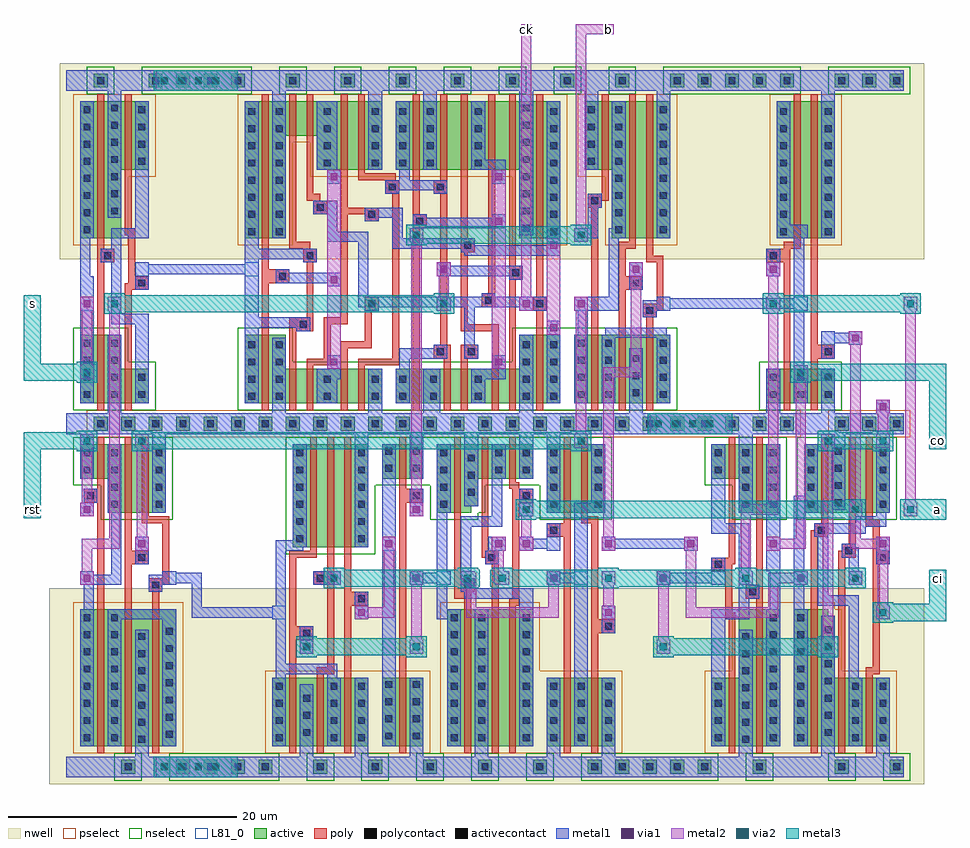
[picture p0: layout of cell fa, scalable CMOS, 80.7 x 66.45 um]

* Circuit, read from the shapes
.subckt fa a b ci ck co gnd rst s vdd
M1 DFFPOSX1_4/D rst gnd gnd nfet w=3u l=0.6u
M2 gnd n1 s gnd nfet w=6u l=0.6u
M3 n2 AOI21X1_12/B DFFPOSX1_4/D gnd nfet w=6u l=0.6u
M4 n1 BUFX2_0/A gnd gnd nfet w=3u l=0.6u
M5 gnd AOI21X1_12/A n2 gnd nfet w=6u l=0.6u
M6 gnd n3 BUFX2_0/A gnd nfet w=6u l=0.6u
M7 n4 BUFX2_0/A gnd gnd nfet w=3u l=0.6u
M8 n3 n5 n4 gnd nfet w=3u l=0.6u
M9 n6 NAND3X1_16/C AOI21X1_12/A gnd nfet w=9u l=0.6u
M10 n7 NAND3X1_16/B n6 gnd nfet w=9u l=0.6u
M11 n8 ck n3 gnd nfet w=3u l=0.6u
M12 gnd NAND3X1_16/A n7 gnd nfet w=9u l=0.6u
M13 gnd n9 n8 gnd nfet w=3u l=0.6u
M14 gnd b NAND3X1_16/A gnd nfet w=3u l=0.6u
M15 gnd n10 n9 gnd nfet w=3u l=0.6u
M16 n11 n9 gnd gnd nfet w=3u l=0.6u
M17 gnd n12 NAND3X1_16/C gnd nfet w=6u l=0.6u
M18 n10 ck n11 gnd nfet w=3u l=0.6u
M19 n12 a gnd gnd nfet w=3u l=0.6u
M20 n13 n5 n10 gnd nfet w=3u l=0.6u
M21 gnd ci n12 gnd nfet w=3u l=0.6u
M22 gnd DFFPOSX1_4/D n13 gnd nfet w=3u l=0.6u
M23 n5 ck gnd gnd nfet w=6u l=0.6u
M24 n14 ci gnd gnd nfet w=6u l=0.6u
M25 NAND3X1_16/B a n14 gnd nfet w=6u l=0.6u
M26 n15 b AOI21X1_12/B gnd nfet w=6u l=0.6u
M27 gnd OAI21X1_5/B n15 gnd nfet w=6u l=0.6u
M28 n15 OAI21X1_5/A gnd gnd nfet w=6u l=0.6u
M29 gnd gnd n16 gnd nfet w=3u l=0.6u
M30 co n16 gnd gnd nfet w=6u l=0.6u
M31 OAI21X1_5/A a gnd gnd nfet w=3u l=0.6u
M32 gnd ci OAI21X1_5/A gnd nfet w=3u l=0.6u
M33 gnd n17 OAI21X1_5/B gnd nfet w=6u l=0.6u
M34 n18 a gnd gnd nfet w=6u l=0.6u
M35 n17 ci n18 gnd nfet w=6u l=0.6u
M36 n19 rst DFFPOSX1_4/D vdd pfet w=12u l=0.6u
M37 vdd n1 s vdd pfet w=12u l=0.6u
M38 vdd AOI21X1_12/B n19 vdd pfet w=12u l=0.6u
M39 n1 BUFX2_0/A vdd vdd pfet w=6u l=0.6u
M40 n19 AOI21X1_12/A vdd vdd pfet w=12u l=0.6u
M41 vdd n3 BUFX2_0/A vdd pfet w=12u l=0.6u
M42 vdd NAND3X1_16/C AOI21X1_12/A vdd pfet w=6u l=0.6u
M43 n20 BUFX2_0/A vdd vdd pfet w=3u l=0.6u
M44 n3 ck n20 vdd pfet w=3u l=0.6u
M45 AOI21X1_12/A NAND3X1_16/B vdd vdd pfet w=6u l=0.6u
M46 n21 n5 n3 vdd pfet w=6u l=0.6u
M47 vdd NAND3X1_16/A AOI21X1_12/A vdd pfet w=6u l=0.6u
M48 vdd n9 n21 vdd pfet w=6u l=0.6u
M49 vdd b NAND3X1_16/A vdd pfet w=6u l=0.6u
M50 vdd n10 n9 vdd pfet w=6u l=0.6u
M51 n22 n9 vdd vdd pfet w=6u l=0.6u
M52 n10 n5 n22 vdd pfet w=6u l=0.6u
M53 vdd n12 NAND3X1_16/C vdd pfet w=12u l=0.6u
M54 n23 ck n10 vdd pfet w=6u l=0.6u
M55 n24 a vdd vdd pfet w=12u l=0.6u
M56 n12 ci n24 vdd pfet w=12u l=0.6u
M57 vdd DFFPOSX1_4/D n23 vdd pfet w=6u l=0.6u
M58 n5 ck vdd vdd pfet w=12u l=0.6u
M59 NAND3X1_16/B ci vdd vdd pfet w=6u l=0.6u
M60 vdd a NAND3X1_16/B vdd pfet w=6u l=0.6u
M61 AOI21X1_12/B b vdd vdd pfet w=6u l=0.6u
M62 n25 OAI21X1_5/B AOI21X1_12/B vdd pfet w=12u l=0.6u
M63 vdd OAI21X1_5/A n25 vdd pfet w=12u l=0.6u
M64 vdd gnd n16 vdd pfet w=6u l=0.6u
M65 co n16 vdd vdd pfet w=12u l=0.6u
M66 n26 a OAI21X1_5/A vdd pfet w=12u l=0.6u
M67 vdd n17 OAI21X1_5/B vdd pfet w=12u l=0.6u
M68 vdd ci n26 vdd pfet w=12u l=0.6u
M69 n17 a vdd vdd pfet w=6u l=0.6u
M70 vdd ci n17 vdd pfet w=6u l=0.6u
.ends

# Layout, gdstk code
from math import pi, radians
import gdstk
lib = gdstk.Library(unit=1e-6, precision=1e-09)
def R(c, l, rs):  # rectangles x0, y0, x1, y1
    for r in rs: c.add(gdstk.rectangle(r[:2], r[2:], *l))
def A(c, l, x, y, w, h, nx, ny, dx, dy):  # array of equal rectangles
    R(c, l, [(x+i*dx, y+j*dy, x+i*dx+w, y+j*dy+h) for i in range(nx) for j in range(ny)])
nwell = (42, 0)
active = (43, 0)
pselect = (44, 0)
nselect = (45, 0)
poly = (46, 0)
polycontact = (47, 0)
activecontact = (48, 0)
metal1 = (49, 0)
via1 = (50, 0)
metal2 = (51, 0)
via2 = (61, 0)
metal3 = (62, 0)
L81_0 = (81, 0)

bufx2 = lib.new_cell('BUFX2')
R(bufx2, nwell, [(-1.5,14.4,8.4,31.5)])
R(bufx2, active, [(-0.6,-0.6,0.6,0.6), (4.2,-0.6,5.4,0.6), (0.6,1.8,6.6,4.8), (3,4.8,6.6,7.8), (3,16.2,6.6,22.2), (0.6,22.2,6.6,28.2), (-0.6,29.4,0.6,30.6), (4.2,29.4,5.4,30.6)])
R(bufx2, pselect, [(-1.2,-1.2,1.2,1.2), (3.6,-1.2,6,1.2), (2.4,15.6,7.2,21.6), (0,21.6,7.2,28.8)])
R(bufx2, nselect, [(0,1.2,7.2,5.4), (2.4,5.4,7.2,8.4), (-1.2,28.8,1.2,31.2), (3.6,28.8,6,31.2)])
R(bufx2, poly, [(2.1,1.2,2.7,11.7), (4.5,1.2,5.1,14.1), (0.6,11.7,2.7,12.3), (0.6,12.3,2.4,12.9), (1.8,12.9,2.4,16.5), (3.6,14.1,5.1,15.3), (4.5,15.3,5.1,28.8), (1.8,16.5,2.7,17.1), (2.1,17.1,2.7,28.8)])
R(bufx2, polycontact, [(0.9,12,1.5,12.6), (3.9,14.4,4.5,15)])
A(bufx2, activecontact, 0.9, 2.25, 0.6, 0.6, 3, 2, 2.4, 1.5)
A(bufx2, activecontact, 5.7, 16.65, 0.6, 0.6, 1, 8, 0, 1.5)
A(bufx2, activecontact, 3.3, 18.3, 0.6, 0.6, 1, 7, 0, 1.5)
A(bufx2, activecontact, 0.9, 22.65, 0.6, 0.6, 1, 4, 0, 1.5)
R(bufx2, activecontact, [(-0.3,-0.3,0.3,0.3), (4.5,-0.3,5.1,0.3), (3.3,5.25,3.9,5.85), (5.7,5.25,6.3,5.85), (3.3,6.75,3.9,7.35), (5.7,6.75,6.3,7.35), (-0.3,29.7,0.3,30.3), (4.5,29.7,5.1,30.3)])
R(bufx2, metal1, [(-0.6,-0.9,7.8,0.9), (3,0.9,4.2,7.8), (0.6,1.8,1.8,8.7), (5.4,1.8,6.6,12.9), (0.6,8.7,3.9,9.6), (3,9.6,3.9,14.1), (0.6,11.7,1.8,14.1), (5.7,12.9,6.6,16.2), (3,14.1,4.8,15.3), (3,15.3,3.9,16.2), (0.6,16.2,3.9,17.1), (5.4,16.2,6.6,28.2), (0.6,17.1,1.8,28.2), (3,18,4.2,29.1), (-0.6,29.1,7.8,30.9)])
R(bufx2, L81_0, [(5.4,9.9,6.6,11.1), (0.6,12.9,1.8,14.1)])
bufx2.add(gdstk.Label('vdd', (1.2,30), layer=109, texttype=0))
bufx2.add(gdstk.Label('gnd', (1.2,0), layer=109, texttype=0))
bufx2.add(gdstk.Label('A', (1.2,13.5), layer=109, texttype=0))
bufx2.add(gdstk.Label('Y', (6,10.5), layer=109, texttype=0))

fill = lib.new_cell('FILL')
R(fill, nwell, [(-2.4,14.4,4.8,31.5)])
R(fill, active, [(-0.6,-0.6,0.6,0.6), (1.8,-0.6,3,0.6), (-0.6,29.4,0.6,30.6), (1.8,29.4,3,30.6)])
R(fill, pselect, [(-1.2,-1.2,3.6,1.2)])
R(fill, nselect, [(-1.2,28.8,3.6,31.2)])
R(fill, activecontact, [(-0.3,-0.3,0.3,0.3), (2.1,-0.3,2.7,0.3), (-0.3,29.7,0.3,30.3), (2.1,29.7,2.7,30.3)])
R(fill, metal1, [(-0.6,-0.9,3,0.9), (-0.6,29.1,3,30.9)])
fill.add(gdstk.Label('vdd', (1.2,30), layer=109, texttype=0))
fill.add(gdstk.Label('gnd', (1.2,0), layer=109, texttype=0))

dffposx1 = lib.new_cell('DFFPOSX1')
R(dffposx1, nwell, [(-2.4,14.4,31.2,31.5)])
A(dffposx1, active, -0.6, -0.6, 1.2, 1.2, 6, 2, 4.8, 30)
R(dffposx1, active, [(0.6,1.8,15,4.8), (16.2,1.8,28.2,4.8), (0.6,4.8,4.2,7.8), (24.6,4.8,28.2,7.8), (0.6,16.2,4.2,22.2), (24.6,16.2,28.2,25.2), (0.6,22.2,15,28.2), (16.2,22.2,21.9,25.2), (16.2,25.2,28.2,28.2)])
A(dffposx1, pselect, -1.2, -1.2, 2.4, 2.4, 6, 1, 4.8, 0)
R(dffposx1, pselect, [(0,15.6,4.8,21.6), (24,15.6,28.8,24.6), (0,21.6,22.5,24.6), (0,24.6,28.8,28.8)])
A(dffposx1, nselect, -1.2, 28.8, 2.4, 2.4, 6, 1, 4.8, 0)
R(dffposx1, nselect, [(0,1.2,28.8,5.4), (0,5.4,4.8,8.4), (24,5.4,28.8,8.4)])
R(dffposx1, poly, [(2.1,1.2,2.7,9.9), (4.5,1.2,5.1,12.6), (6,1.2,6.6,8.1), (8.7,1.2,9.3,5.7), (10.2,1.2,10.8,5.7), (12.9,1.2,13.5,17.1), (17.7,1.2,18.3,5.1), (19.2,1.2,19.8,6.6), (22.2,1.2,22.8,5.1), (23.7,1.2,24.3,8.1), (26.1,1.2,26.7,12.3), (14.7,5.1,18.3,5.7), (20.7,5.1,22.8,5.7), (7.8,5.7,9.3,6.9), (10.2,5.7,11.7,6.9), (14.7,5.7,15.3,20.1), (20.7,5.7,21.3,8.7), (17.1,6.6,19.8,7.2), (10.5,6.9,11.1,20.1), (17.1,7.2,17.7,9.9), (6,8.1,9.3,8.7), (22.2,8.1,24.3,9.3), (8.7,8.7,9.3,15), (19.2,8.7,21.3,9.3), (19.2,9.3,19.8,18.3), (22.2,9.3,22.8,14.1), (1.8,9.9,3,11.1), (16.5,9.9,17.7,11.1), (6.3,10.2,7.5,11.4), (2.1,11.1,2.7,28.8), (6.3,11.4,6.9,28.8), (24.3,12.3,26.7,13.5), (3.9,12.6,5.1,13.8), (26.1,13.5,26.7,28.8), (4.5,13.8,5.1,28.8), (21.9,14.1,23.1,15.3), (8.1,15,9.3,16.2), (22.5,15.3,24.3,15.9), (23.7,15.9,24.3,28.8), (8.7,16.2,9.3,28.8), (12.3,17.1,13.5,18.3), (16.5,17.7,17.7,18.3), (12.9,18.3,13.5,28.8), (16.5,18.3,19.8,18.9), (21,18.3,22.2,19.5), (19.2,18.9,19.8,28.8), (21.6,19.5,22.8,20.1), (10.5,20.1,11.7,21.3), (14.7,20.1,15.9,21.3), (22.2,20.1,22.8,28.8), (10.5,21.3,11.1,28.8), (15,21.3,18.3,21.9), (17.7,21.9,18.3,28.8)])
R(dffposx1, polycontact, [(8.1,6,8.7,6.6), (10.8,6,11.4,6.6), (22.8,8.4,23.4,9), (2.1,10.2,2.7,10.8), (16.8,10.2,17.4,10.8), (6.6,10.5,7.2,11.1), (24.6,12.6,25.2,13.2), (4.2,12.9,4.8,13.5), (22.2,14.4,22.8,15), (8.4,15.3,9,15.9), (12.6,17.4,13.2,18), (16.8,18,17.4,18.6), (21.3,18.6,21.9,19.2), (10.8,20.4,11.4,21), (15,20.4,15.6,21)])
A(dffposx1, activecontact, -0.3, -0.3, 0.6, 0.6, 6, 2, 4.8, 30)
A(dffposx1, activecontact, 0.9, 2.1, 0.6, 0.6, 1, 4, 0, 1.5)
A(dffposx1, activecontact, 3.3, 2.1, 0.6, 0.6, 1, 4, 0, 1.5)
A(dffposx1, activecontact, 16.5, 2.1, 0.6, 0.6, 3, 2, 4.2, 1.5)
A(dffposx1, activecontact, 27.3, 2.1, 0.6, 0.6, 1, 4, 0, 1.5)
A(dffposx1, activecontact, 0.9, 16.5, 0.6, 0.6, 1, 8, 0, 1.5)
A(dffposx1, activecontact, 24.9, 16.5, 0.6, 0.6, 1, 8, 0, 1.5)
A(dffposx1, activecontact, 27.3, 16.5, 0.6, 0.6, 1, 8, 0, 1.5)
A(dffposx1, activecontact, 3.3, 16.8, 0.6, 0.6, 1, 8, 0, 1.5)
A(dffposx1, activecontact, 7.5, 22.5, 0.6, 0.6, 1, 4, 0, 1.5)
A(dffposx1, activecontact, 11.7, 22.5, 0.6, 0.6, 3, 4, 2.4, 1.5)
A(dffposx1, activecontact, 20.7, 22.5, 0.6, 0.6, 1, 4, 0, 1.5)
R(dffposx1, activecontact, [(7.5,2.1,8.1,2.7), (11.4,2.1,12,2.7), (14.1,2.1,14.7,2.7), (7.5,3.6,8.1,4.2), (11.4,3.6,12,4.2), (14.1,3.6,14.7,4.2), (24.9,5.1,25.5,5.7), (24.9,6.6,25.5,7.2)])
R(dffposx1, metal1, [(-0.6,-0.9,29.4,0.9), (3,0.9,4.2,7.8), (11.1,0.9,12.6,4.8), (16.2,0.9,17.4,4.8), (24.6,0.9,25.8,7.5), (0.6,1.8,1.8,9), (7.2,1.8,8.4,3.9), (13.8,1.8,15,4.8), (20.1,1.8,21.9,3.9), (27,1.8,28.2,8.4), (5.4,3.9,8.4,4.8), (19.8,3.9,21.9,4.8), (5.4,4.8,6.6,6), (13.8,4.8,14.7,5.7), (19.8,4.8,21,6), (7.8,5.7,9,6.9), (10.5,5.7,14.7,6.6), (10.5,6.6,11.7,6.9), (8.1,6.9,9,10.2), (22.5,8.1,23.7,8.4), (22.5,8.4,28.2,9.3), (27,9.3,28.2,14.4), (1.8,9.9,4.2,10.2), (16.5,9.9,17.7,10.2), (1.8,10.2,18.3,11.1), (6.3,11.1,7.5,11.4), (17.4,11.1,18.3,15.9), (19.8,12,21,12.3), (19.8,12.3,25.5,13.2), (3.9,12.6,5.1,12.9), (3.9,12.9,11.4,13.8), (24.3,13.2,25.5,13.5), (10.2,13.8,11.4,14.1), (21.9,14.1,23.1,14.4), (21.9,14.4,28.2,15.3), (0.6,14.7,9,15), (0.6,15,9.3,15.3), (0.6,15.3,15.3,15.6), (27,15.3,28.2,28.2), (0.6,15.6,1.8,28.2), (8.1,15.6,15.3,16.2), (17.4,15.9,21,16.8), (14.4,16.2,15.3,18), (24.6,16.2,25.8,29.1), (3,16.5,4.2,29.1), (20.1,16.8,21,18.3), (5.4,17.1,13.5,18), (16.5,17.7,17.7,18), (5.4,18,6.6,18.3), (12.3,18,13.5,18.3), (14.4,18,17.7,18.9), (20.1,18.3,22.2,19.5), (10.5,20.1,11.7,20.4), (14.7,20.1,15.9,20.4), (10.5,20.4,15.9,21.3), (5.4,21,6.6,22.2), (19.8,21,21,22.2), (13.8,21.3,14.7,22.2), (5.4,22.2,8.4,23.1), (11.4,22.2,12.6,29.1), (13.8,22.2,15,28.2), (16.2,22.2,17.4,29.1), (20.1,22.2,21.9,28.2), (7.2,23.1,8.4,28.2), (-0.6,29.1,29.4,30.9)])
R(dffposx1, via1, [(5.7,5.1,6.3,5.7), (20.1,5.1,20.7,5.7), (0.9,8.1,1.5,8.7), (20.1,12.3,20.7,12.9), (0.9,15.3,1.5,15.9), (5.7,17.4,6.3,18), (5.7,21.3,6.3,21.9), (20.1,21.3,20.7,21.9)])
R(dffposx1, metal2, [(5.4,4.8,6.6,22.2), (19.8,4.8,21,22.2), (0.6,7.8,1.8,16.2)])
R(dffposx1, L81_0, [(3,9.9,4.2,11.1), (10.2,12.9,11.4,14.1), (27,12.9,28.2,14.1)])
dffposx1.add(gdstk.Label('vdd', (1.2,30), layer=109, texttype=0))
dffposx1.add(gdstk.Label('D', (10.8,13.5), layer=109, texttype=0))
dffposx1.add(gdstk.Label('gnd', (1.2,0), layer=109, texttype=0))
dffposx1.add(gdstk.Label('Q', (27.6,13.5), layer=109, texttype=0))
dffposx1.add(gdstk.Label('CLK', (3.6,10.5), layer=109, texttype=0))

oai21x1 = lib.new_cell('OAI21X1')
R(oai21x1, nwell, [(-2.4,14.4,10.2,31.5)])
R(oai21x1, active, [(-0.6,-0.6,0.6,0.6), (4.2,-0.6,5.4,0.6), (0.6,1.8,9,7.8), (0.6,16.2,5.7,22.2), (0.6,22.2,8.1,28.2), (-0.6,29.4,0.6,30.6), (4.2,29.4,5.4,30.6)])
R(oai21x1, pselect, [(-1.2,-1.2,1.2,1.2), (3.6,-1.2,6,1.2), (0,15.6,6.3,21.6), (0,21.6,8.7,28.8)])
R(oai21x1, nselect, [(0,1.2,9.6,8.4), (-1.2,28.8,1.2,31.2), (3.6,28.8,6,31.2)])
R(oai21x1, poly, [(2.1,1.2,2.7,9.3), (4.5,1.2,5.1,11.7), (6.9,1.2,7.5,18.9), (1.8,9.3,3,9.9), (1.2,9.9,3,10.5), (1.2,10.5,1.8,14.1), (3,11.7,5.1,12.9), (4.5,12.9,5.1,15.3), (1.2,14.1,2.7,14.7), (2.1,14.7,2.7,28.8), (3.6,15.3,5.1,15.9), (3.6,15.9,4.2,28.8), (6.6,18.9,7.8,19.5), (6,19.5,7.8,20.1), (6,20.1,6.6,28.8)])
R(oai21x1, polycontact, [(2.1,9.6,2.7,10.2), (3.3,12,3.9,12.6), (6.9,19.2,7.5,19.8)])
A(oai21x1, activecontact, 0.9, 2.25, 0.6, 0.6, 1, 4, 0, 1.5)
A(oai21x1, activecontact, 5.7, 2.25, 0.6, 0.6, 1, 4, 0, 1.5)
A(oai21x1, activecontact, 8.1, 2.25, 0.6, 0.6, 1, 4, 0, 1.5)
A(oai21x1, activecontact, 3.3, 2.4, 0.6, 0.6, 1, 3, 0, 1.5)
A(oai21x1, activecontact, 0.9, 16.65, 0.6, 0.6, 1, 8, 0, 1.5)
A(oai21x1, activecontact, 4.8, 16.65, 0.6, 0.6, 1, 8, 0, 1.5)
A(oai21x1, activecontact, 7.2, 22.65, 0.6, 0.6, 1, 4, 0, 1.5)
R(oai21x1, activecontact, [(-0.3,-0.3,0.3,0.3), (4.5,-0.3,5.1,0.3), (-0.3,29.7,0.3,30.3), (4.5,29.7,5.1,30.3)])
R(oai21x1, metal1, [(-0.6,-0.9,10.2,0.9), (3,0.9,4.2,6.6), (0.6,1.8,1.8,7.5), (5.4,1.8,6.6,7.5), (7.8,1.8,9,7.8), (0.6,7.5,6.6,7.8), (0.9,7.8,6.3,8.4), (7.8,7.8,8.7,9.9), (1.8,9.3,3,9.9), (0.6,9.9,3,10.8), (5.1,9.9,9,11.1), (0.6,10.8,1.8,11.1), (5.1,11.1,6,16.2), (3,11.7,4.2,14.1), (7.8,15.9,9,16.2), (0.6,16.2,1.8,29.1), (4.5,16.2,6,17.1), (6.9,16.2,9,17.1), (4.5,17.1,5.7,28.2), (6.9,17.1,7.8,18.9), (6.6,18.9,7.8,20.1), (6.9,22.2,8.1,29.1), (-0.6,29.1,10.2,30.9)])
R(oai21x1, L81_0, [(0.6,9.9,1.8,11.1), (7.8,9.9,9,11.1), (3,12.9,4.2,14.1), (7.8,15.9,9,17.1)])
oai21x1.add(gdstk.Label('gnd', (1.2,0), layer=109, texttype=0))
oai21x1.add(gdstk.Label('vdd', (1.2,30), layer=109, texttype=0))
oai21x1.add(gdstk.Label('A', (1.2,10.5), layer=109, texttype=0))
oai21x1.add(gdstk.Label('B', (3.6,13.5), layer=109, texttype=0))
oai21x1.add(gdstk.Label('Y', (8.4,10.5), layer=109, texttype=0))
oai21x1.add(gdstk.Label('C', (8.4,16.5), layer=109, texttype=0))

nor2x1 = lib.new_cell('NOR2X1')
R(nor2x1, nwell, [(-2.4,14.4,9.6,31.5)])
R(nor2x1, active, [(-0.6,-0.6,0.6,0.6), (4.2,-0.6,5.4,0.6), (0.6,1.8,6.6,4.8), (0.6,16.2,5.7,28.2), (-0.6,29.4,0.6,30.6), (4.2,29.4,5.4,30.6)])
R(nor2x1, pselect, [(-1.2,-1.2,1.2,1.2), (3.6,-1.2,6,1.2), (0,15.6,6.3,28.8)])
R(nor2x1, nselect, [(0,1.2,7.2,5.4), (-1.2,28.8,1.2,31.2), (3.6,28.8,6,31.2)])
R(nor2x1, poly, [(2.1,1.2,2.7,5.7), (4.5,1.2,5.1,14.1), (0.6,5.7,2.7,6.9), (2.1,6.9,2.7,28.8), (4.5,14.1,6.6,15.3), (3.6,15.3,5.1,15.9), (3.6,15.9,4.2,28.8)])
R(nor2x1, polycontact, [(0.9,6,1.5,6.6), (5.7,14.4,6.3,15)])
A(nor2x1, activecontact, 0.9, 2.25, 0.6, 0.6, 3, 2, 2.4, 1.5)
A(nor2x1, activecontact, 0.9, 16.5, 0.6, 0.6, 1, 8, 0, 1.5)
A(nor2x1, activecontact, 4.8, 16.5, 0.6, 0.6, 1, 8, 0, 1.5)
R(nor2x1, activecontact, [(-0.3,-0.3,0.3,0.3), (4.5,-0.3,5.1,0.3), (-0.3,29.7,0.3,30.3), (4.5,29.7,5.1,30.3)])
R(nor2x1, metal1, [(-0.6,-0.9,7.8,0.9), (0.6,0.9,1.8,4.8), (5.4,0.9,6.6,4.8), (3,1.8,4.2,4.8), (3.3,4.8,4.2,9.9), (0.6,5.7,1.8,8.1), (3,9.9,4.2,11.1), (3.3,11.1,4.2,16.2), (5.4,12.9,6.6,15.3), (0.6,16.2,1.8,29.1), (3,16.2,5.7,17.4), (4.5,17.4,5.7,28.2), (-0.6,29.1,7.8,30.9)])
R(nor2x1, L81_0, [(0.6,6.9,1.8,8.1), (3,9.9,4.2,11.1), (5.4,12.9,6.6,14.1)])
nor2x1.add(gdstk.Label('vdd', (1.2,30), layer=109, texttype=0))
nor2x1.add(gdstk.Label('B', (6,13.5), layer=109, texttype=0))
nor2x1.add(gdstk.Label('gnd', (1.2,0), layer=109, texttype=0))
nor2x1.add(gdstk.Label('Y', (3.6,10.5), layer=109, texttype=0))
nor2x1.add(gdstk.Label('A', (1.2,7.5), layer=109, texttype=0))

aoi21x1 = lib.new_cell('AOI21X1')
R(aoi21x1, nwell, [(-2.1,14.4,11.7,31.5)])
R(aoi21x1, active, [(-0.6,-0.6,0.6,0.6), (4.2,-0.6,5.4,0.6), (1.5,1.8,9,4.8), (1.5,4.8,6.6,7.8), (0.6,16.2,9,28.2), (-0.6,29.4,0.6,30.6), (4.2,29.4,5.4,30.6)])
R(aoi21x1, pselect, [(-1.2,-1.2,1.2,1.2), (3.6,-1.2,6,1.2), (0,15.6,9.6,28.8)])
R(aoi21x1, nselect, [(0.9,1.2,9.6,5.4), (0.9,5.4,7.2,8.4), (-1.2,28.8,1.2,31.2), (3.6,28.8,6,31.2)])
R(aoi21x1, poly, [(3,1.2,3.6,8.1), (4.5,1.2,5.1,11.1), (6.9,1.2,7.5,5.7), (6.9,5.7,8.7,6.9), (6.9,6.9,7.5,28.8), (1.2,8.1,3.6,8.7), (1.2,8.7,1.8,13.5), (3,11.1,5.1,12.3), (4.5,12.3,5.1,28.8), (1.2,13.5,3,14.1), (1.8,14.1,3,14.7), (2.1,14.7,2.7,28.8)])
R(aoi21x1, polycontact, [(7.8,6,8.4,6.6), (3.3,11.4,3.9,12), (2.1,13.8,2.7,14.4)])
A(aoi21x1, activecontact, 1.8, 2.25, 0.6, 0.6, 1, 4, 0, 1.5)
A(aoi21x1, activecontact, 5.7, 2.25, 0.6, 0.6, 1, 4, 0, 1.5)
A(aoi21x1, activecontact, 5.7, 16.65, 0.6, 0.6, 1, 8, 0, 1.5)
A(aoi21x1, activecontact, 8.1, 16.65, 0.6, 0.6, 1, 8, 0, 1.5)
A(aoi21x1, activecontact, 0.9, 17.85, 0.6, 0.6, 1, 7, 0, 1.5)
A(aoi21x1, activecontact, 3.3, 18.3, 0.6, 0.6, 1, 7, 0, 1.5)
R(aoi21x1, activecontact, [(-0.3,-0.3,0.3,0.3), (4.5,-0.3,5.1,0.3), (8.1,2.25,8.7,2.85), (8.1,3.75,8.7,4.35), (-0.3,29.7,0.3,30.3), (4.5,29.7,5.1,30.3)])
R(aoi21x1, metal1, [(-0.6,-0.9,10.2,0.9), (1.5,0.9,2.7,7.8), (7.8,0.9,9,4.8), (5.4,1.8,6.6,7.8), (7.5,5.7,8.7,6.9), (7.8,6.9,9,8.1), (5.4,7.8,6.3,13.2), (3,9.9,4.2,12.3), (0.6,12.9,1.8,13.2), (7.8,12.9,9,13.2), (0.6,13.2,3,14.1), (5.4,13.2,9,14.1), (1.8,14.1,3,14.7), (7.8,14.1,8.7,16.2), (0.6,16.2,6.6,17.1), (7.8,16.2,9,28.2), (0.6,17.1,1.8,28.2), (5.4,17.1,6.6,28.2), (3,18,4.2,29.1), (-0.6,29.1,10.2,30.9)])
R(aoi21x1, L81_0, [(7.8,6.9,9,8.1), (3,9.9,4.2,11.1), (0.6,12.9,1.8,14.1), (7.8,12.9,9,14.1)])
aoi21x1.add(gdstk.Label('gnd', (1.2,0), layer=109, texttype=0))
aoi21x1.add(gdstk.Label('vdd', (1.2,30), layer=109, texttype=0))
aoi21x1.add(gdstk.Label('A', (1.2,13.5), layer=109, texttype=0))
aoi21x1.add(gdstk.Label('B', (3.6,10.5), layer=109, texttype=0))
aoi21x1.add(gdstk.Label('Y', (8.4,13.5), layer=109, texttype=0))
aoi21x1.add(gdstk.Label('C', (8.4,7.5), layer=109, texttype=0))

nand3x1 = lib.new_cell('NAND3X1')
R(nand3x1, nwell, [(-2.4,14.4,12,31.5)])
R(nand3x1, active, [(-0.6,-0.6,0.6,0.6), (4.2,-0.6,5.4,0.6), (0.6,1.8,7.2,10.8), (0.6,22.2,9,28.2), (-0.6,29.4,0.6,30.6), (4.2,29.4,5.4,30.6)])
R(nand3x1, pselect, [(-1.2,-1.2,1.2,1.2), (3.6,-1.2,6,1.2), (0,21.6,9.6,28.8)])
R(nand3x1, nselect, [(0,1.2,7.8,11.4), (-1.2,28.8,1.2,31.2), (3.6,28.8,6,31.2)])
R(nand3x1, poly, [(2.1,1.2,2.7,14.7), (3.6,1.2,4.2,12.9), (5.1,1.2,5.7,11.1), (5.1,11.1,7.5,11.7), (6.9,11.7,7.5,17.7), (3.6,12.9,5.4,14.1), (3.6,14.1,4.2,21.3), (0.6,14.7,2.7,15.9), (2.1,15.9,2.7,28.8), (5.4,17.7,7.5,18.9), (6.9,18.9,7.5,28.8), (3.6,21.3,5.1,21.9), (4.5,21.9,5.1,28.8)])
R(nand3x1, polycontact, [(4.5,13.2,5.1,13.8), (0.9,15,1.5,15.6), (5.7,18,6.3,18.6)])
A(nand3x1, activecontact, 0.9, 2.25, 0.6, 0.6, 1, 6, 0, 1.5)
A(nand3x1, activecontact, 6.3, 2.25, 0.6, 0.6, 1, 6, 0, 1.5)
A(nand3x1, activecontact, 0.9, 22.65, 0.6, 0.6, 1, 4, 0, 1.5)
A(nand3x1, activecontact, 3.3, 22.65, 0.6, 0.6, 1, 4, 0, 1.5)
A(nand3x1, activecontact, 8.1, 22.65, 0.6, 0.6, 1, 4, 0, 1.5)
A(nand3x1, activecontact, 5.7, 23.7, 0.6, 0.6, 1, 3, 0, 1.5)
R(nand3x1, activecontact, [(-0.3,-0.3,0.3,0.3), (4.5,-0.3,5.1,0.3), (-0.3,29.7,0.3,30.3), (4.5,29.7,5.1,30.3)])
R(nand3x1, metal1, [(-0.6,-0.9,10.2,0.9), (0.6,0.9,1.8,10.8), (6,1.8,7.2,10.2), (6,10.2,8.7,10.8), (6.3,10.8,8.7,11.1), (7.8,11.1,8.7,15.9), (3,12.9,5.4,14.1), (0.6,14.7,1.8,17.1), (7.8,15.9,9,17.1), (7.8,17.1,8.7,21), (5.4,17.7,6.6,20.1), (3.3,21,8.7,21.9), (3.3,21.9,4.2,22.2), (7.8,21.9,8.7,22.2), (0.6,22.2,1.8,29.1), (3,22.2,4.2,28.2), (7.8,22.2,9,28.2), (5.4,22.8,6.6,29.1), (-0.6,29.1,10.2,30.9)])
R(nand3x1, L81_0, [(3,12.9,4.2,14.1), (0.6,15.9,1.8,17.1), (7.8,15.9,9,17.1), (5.4,18.9,6.6,20.1)])
nand3x1.add(gdstk.Label('B', (3.6,13.5), layer=109, texttype=0))
nand3x1.add(gdstk.Label('vdd', (1.2,30), layer=109, texttype=0))
nand3x1.add(gdstk.Label('gnd', (1.2,0), layer=109, texttype=0))
nand3x1.add(gdstk.Label('A', (1.2,16.5), layer=109, texttype=0))
nand3x1.add(gdstk.Label('C', (6,19.5), layer=109, texttype=0))
nand3x1.add(gdstk.Label('Y', (8.4,16.5), layer=109, texttype=0))

invx1 = lib.new_cell('INVX1')
R(invx1, nwell, [(-2.7,14.4,7.8,31.5)])
R(invx1, active, [(-0.6,-0.6,0.6,0.6), (0.6,1.8,4.2,4.8), (0.6,22.2,4.2,28.2), (-0.6,29.4,0.6,30.6)])
R(invx1, pselect, [(-1.2,-1.2,1.2,1.2), (0,21.6,4.8,28.8)])
R(invx1, nselect, [(0,1.2,4.8,5.4), (-1.2,28.8,1.2,31.2)])
R(invx1, poly, [(2.1,1.2,2.7,5.7), (0.6,5.7,2.7,6.9), (2.1,6.9,2.7,28.8)])
R(invx1, polycontact, [(0.9,6,1.5,6.6)])
A(invx1, activecontact, 0.9, 22.5, 0.6, 0.6, 1, 4, 0, 1.5)
A(invx1, activecontact, 3.3, 22.5, 0.6, 0.6, 1, 4, 0, 1.5)
R(invx1, activecontact, [(-0.3,-0.3,0.3,0.3), (0.9,2.1,1.5,2.7), (3.3,2.1,3.9,2.7), (0.9,3.6,1.5,4.2), (3.3,3.6,3.9,4.2), (-0.3,29.7,0.3,30.3)])
R(invx1, metal1, [(-0.6,-0.9,5.4,0.9), (0.6,0.9,1.8,4.8), (3,1.8,4.2,28.2), (0.6,5.7,1.8,8.1), (0.6,22.2,1.8,29.1), (-0.6,29.1,5.4,30.9)])
R(invx1, L81_0, [(0.6,6.9,1.8,8.1), (3,9.9,4.2,11.1)])
invx1.add(gdstk.Label('A', (1.2,7.5), layer=109, texttype=0))
invx1.add(gdstk.Label('Y', (3.6,10.5), layer=109, texttype=0))
invx1.add(gdstk.Label('vdd', (1.2,30), layer=109, texttype=0))
invx1.add(gdstk.Label('gnd', (1.2,0), layer=109, texttype=0))

or2x2 = lib.new_cell('OR2X2')
R(or2x2, nwell, [(-2.1,14.4,10.5,31.5)])
R(or2x2, active, [(-0.6,-0.6,0.6,0.6), (4.2,-0.6,5.4,0.6), (0.6,1.8,9,4.8), (5.4,4.8,9,7.2), (6,7.2,9,7.8), (0.6,16.2,8.1,28.2), (-0.6,29.4,0.6,30.6), (4.2,29.4,5.4,30.6)])
R(or2x2, pselect, [(-1.2,-1.2,1.2,1.2), (3.6,-1.2,6,1.2), (0,15.6,8.7,28.8)])
R(or2x2, nselect, [(0,1.2,9.6,5.4), (4.8,5.4,9.6,7.8), (5.4,7.8,9.6,8.4), (-1.2,28.8,1.2,31.2), (3.6,28.8,6,31.2)])
R(or2x2, poly, [(2.1,1.2,2.7,5.1), (4.5,1.2,5.1,11.1), (6.9,1.2,7.5,13.5), (1.8,5.1,2.7,5.7), (0.6,5.7,2.4,6.9), (1.8,6.9,2.4,15.3), (3.6,11.1,5.1,11.7), (3.6,11.7,4.8,12.3), (3.6,12.3,4.2,28.8), (5.7,13.5,7.5,14.7), (6,14.7,7.5,15.3), (1.8,15.3,2.7,15.9), (6,15.3,6.6,28.8), (2.1,15.9,2.7,28.8)])
R(or2x2, polycontact, [(0.9,6,1.5,6.6), (3.9,11.4,4.5,12), (6,13.8,6.6,14.4)])
A(or2x2, activecontact, 8.1, 2.25, 0.6, 0.6, 1, 4, 0, 1.5)
A(or2x2, activecontact, 5.7, 2.7, 0.6, 0.6, 1, 3, 0, 1.5)
A(or2x2, activecontact, 0.9, 16.65, 0.6, 0.6, 1, 8, 0, 1.5)
A(or2x2, activecontact, 4.8, 16.65, 0.6, 0.6, 1, 8, 0, 1.5)
A(or2x2, activecontact, 7.2, 16.65, 0.6, 0.6, 1, 8, 0, 1.5)
R(or2x2, activecontact, [(-0.3,-0.3,0.3,0.3), (4.5,-0.3,5.1,0.3), (0.9,2.25,1.5,2.85), (3.3,2.25,3.9,2.85), (0.9,3.75,1.5,4.35), (3.3,3.75,3.9,4.35), (-0.3,29.7,0.3,30.3), (4.5,29.7,5.1,30.3)])
R(or2x2, metal1, [(-0.6,-0.9,10.2,0.9), (0.6,0.9,1.8,4.8), (5.4,0.9,6.6,7.2), (3,1.8,4.2,4.8), (7.8,1.8,9,7.8), (3.3,4.8,4.2,8.1), (0.6,5.7,1.8,8.1), (8.1,7.8,9,12.9), (3.3,8.1,6.9,9), (6,9,6.9,13.5), (3,9.9,4.5,11.1), (3.6,11.1,4.8,12.3), (7.8,12.9,9,14.1), (5.7,13.5,6.9,14.4), (8.1,14.1,9,16.2), (0.6,14.4,6.9,14.7), (0.6,14.7,6.6,15.3), (0.6,15.3,1.8,28.2), (4.5,16.2,5.7,29.1), (6.9,16.2,9,17.1), (6.9,17.1,8.1,28.2), (-0.6,29.1,10.2,30.9)])
R(or2x2, L81_0, [(0.6,6.9,1.8,8.1), (3,9.9,4.2,11.1), (7.8,12.9,9,14.1)])
or2x2.add(gdstk.Label('Y', (8.4,13.5), layer=109, texttype=0))
or2x2.add(gdstk.Label('B', (3.6,10.5), layer=109, texttype=0))
or2x2.add(gdstk.Label('vdd', (1.2,30), layer=109, texttype=0))
or2x2.add(gdstk.Label('gnd', (1.2,0), layer=109, texttype=0))
or2x2.add(gdstk.Label('A', (1.2,7.5), layer=109, texttype=0))

nand2x1 = lib.new_cell('NAND2X1')
R(nand2x1, nwell, [(-2.4,14.4,9.6,31.5)])
R(nand2x1, active, [(-0.6,-0.6,0.6,0.6), (4.2,-0.6,5.4,0.6), (0.6,1.8,5.7,7.8), (0.6,22.2,6.6,28.2), (-0.6,29.4,0.6,30.6), (4.2,29.4,5.4,30.6)])
R(nand2x1, pselect, [(-1.2,-1.2,1.2,1.2), (3.6,-1.2,6,1.2), (0,21.6,7.2,28.8)])
R(nand2x1, nselect, [(0,1.2,6.3,8.4), (-1.2,28.8,1.2,31.2), (3.6,28.8,6,31.2)])
R(nand2x1, poly, [(2.1,1.2,2.7,8.7), (3.6,1.2,4.2,8.1), (3.6,8.1,5.1,8.7), (0.6,8.7,2.7,9.9), (4.5,8.7,5.1,17.1), (2.1,9.9,2.7,28.8), (4.5,17.1,6.6,18.3), (4.5,18.3,5.1,28.8)])
R(nand2x1, polycontact, [(0.9,9,1.5,9.6), (5.7,17.4,6.3,18)])
A(nand2x1, activecontact, 0.9, 2.25, 0.6, 0.6, 1, 4, 0, 1.5)
A(nand2x1, activecontact, 4.8, 2.25, 0.6, 0.6, 1, 4, 0, 1.5)
A(nand2x1, activecontact, 0.9, 22.65, 0.6, 0.6, 3, 4, 2.4, 1.5)
R(nand2x1, activecontact, [(-0.3,-0.3,0.3,0.3), (4.5,-0.3,5.1,0.3), (-0.3,29.7,0.3,30.3), (4.5,29.7,5.1,30.3)])
R(nand2x1, metal1, [(-0.6,-0.9,7.8,0.9), (0.6,0.9,1.8,7.8), (4.5,1.8,5.7,6.9), (3,6.9,5.7,7.8), (3,7.8,4.2,28.2), (0.6,8.7,1.8,11.1), (5.4,15.9,6.6,18.3), (0.6,22.2,1.8,29.1), (5.4,22.2,6.6,29.1), (-0.6,29.1,7.8,30.9)])
R(nand2x1, L81_0, [(0.6,9.9,1.8,11.1), (3,12.9,4.2,14.1), (5.4,15.9,6.6,17.1)])
nand2x1.add(gdstk.Label('vdd', (1.2,30), layer=109, texttype=0))
nand2x1.add(gdstk.Label('Y', (3.6,13.5), layer=109, texttype=0))
nand2x1.add(gdstk.Label('gnd', (1.2,0), layer=109, texttype=0))
nand2x1.add(gdstk.Label('A', (1.2,10.5), layer=109, texttype=0))
nand2x1.add(gdstk.Label('B', (6,16.5), layer=109, texttype=0))

and2x2 = lib.new_cell('AND2X2')
R(and2x2, nwell, [(-2.4,14.4,12,31.5)])
R(and2x2, active, [(-0.6,-0.6,0.6,0.6), (4.2,-0.6,5.4,0.6), (0.6,1.8,8.1,7.8), (6,16.2,9,16.8), (5.4,16.8,9,22.2), (0.6,22.2,9,28.2), (-0.6,29.4,0.6,30.6), (4.2,29.4,5.4,30.6)])
R(and2x2, pselect, [(-1.2,-1.2,1.2,1.2), (3.6,-1.2,6,1.2), (5.4,15.6,9.6,16.2), (4.8,16.2,9.6,21.6), (0,21.6,9.6,28.8)])
R(and2x2, nselect, [(0,1.2,8.7,8.4), (-1.2,28.8,1.2,31.2), (3.6,28.8,6,31.2)])
R(and2x2, poly, [(2.1,1.2,2.7,8.4), (3.6,1.2,4.2,10.5), (6,1.2,6.6,8.7), (1.5,8.4,2.7,9), (6,8.7,7.2,9.3), (1.5,9,2.1,11.1), (6,9.3,7.5,9.9), (6.9,9.9,7.5,28.8), (3.6,10.5,4.8,11.1), (0.6,11.1,2.1,12.3), (3.6,11.1,5.1,11.7), (4.5,11.7,5.1,28.8), (1.5,12.3,2.1,21.3), (1.5,21.3,2.7,21.9), (2.1,21.9,2.7,28.8)])
R(and2x2, polycontact, [(6.3,9,6.9,9.6), (3.9,10.8,4.5,11.4), (0.9,11.4,1.5,12)])
A(and2x2, activecontact, 4.8, 2.1, 0.6, 0.6, 1, 4, 0, 1.5)
A(and2x2, activecontact, 0.9, 2.25, 0.6, 0.6, 1, 4, 0, 1.5)
A(and2x2, activecontact, 7.2, 2.25, 0.6, 0.6, 1, 4, 0, 1.5)
A(and2x2, activecontact, 8.1, 16.65, 0.6, 0.6, 1, 8, 0, 1.5)
A(and2x2, activecontact, 5.7, 17.7, 0.6, 0.6, 1, 7, 0, 1.5)
A(and2x2, activecontact, 0.9, 22.65, 0.6, 0.6, 1, 4, 0, 1.5)
A(and2x2, activecontact, 3.3, 22.65, 0.6, 0.6, 1, 4, 0, 1.5)
R(and2x2, activecontact, [(-0.3,-0.3,0.3,0.3), (4.5,-0.3,5.1,0.3), (-0.3,29.7,0.3,30.3), (4.5,29.7,5.1,30.3)])
R(and2x2, metal1, [(-0.6,-0.9,10.2,0.9), (4.5,0.9,5.7,7.5), (0.6,1.8,1.8,7.8), (6.9,1.8,8.1,6.3), (6.9,6.3,9,7.8), (0.9,7.8,1.8,8.1), (8.1,7.8,9,12.9), (0.9,8.1,3.6,8.7), (0.9,8.7,7.2,9), (2.7,9,7.2,9.6), (6,9.6,7.2,9.9), (0.6,9.9,1.8,12.3), (6,9.9,6.9,15), (3.6,10.5,4.8,10.8), (3.3,10.8,4.8,11.7), (3.3,11.7,4.2,12.9), (3,12.9,4.2,14.1), (7.8,12.9,9,14.1), (8.1,14.1,9,16.2), (3.3,15,6.9,15.9), (3.3,15.9,4.2,22.2), (7.8,16.2,9,28.2), (5.4,16.8,6.6,29.1), (0.6,22.2,1.8,29.1), (3,22.2,4.2,28.2), (-0.6,29.1,10.2,30.9)])
R(and2x2, L81_0, [(0.6,9.9,1.8,11.1), (3,12.9,4.2,14.1), (7.8,12.9,9,14.1)])
and2x2.add(gdstk.Label('vdd', (1.2,30), layer=109, texttype=0))
and2x2.add(gdstk.Label('gnd', (1.2,0), layer=109, texttype=0))
and2x2.add(gdstk.Label('A', (1.2,10.5), layer=109, texttype=0))
and2x2.add(gdstk.Label('B', (3.6,13.5), layer=109, texttype=0))
and2x2.add(gdstk.Label('Y', (8.4,13.5), layer=109, texttype=0))

c_fa = lib.new_cell('fa')
A(c_fa, metal1, 40.2, 20.4, 1.2, 0.15, 3, 2, 7.2, 1.05)
R(c_fa, metal1, [(8.4,0.9,15.6,2.1), (21,11.4,22.2,12.6), (25.8,14.4,27,15.6), (47.4,14.4,48.6,15.6), (11.55,14.55,19.65,15.45), (11.55,15.45,12.45,17.55), (1.8,17.4,3,18.6), (23.4,17.4,24.6,18.6), (30.6,17.4,31.8,17.55), (42.6,17.4,43.8,17.55), (52.2,17.4,53.4,17.55), (64.2,17.4,65.4,18.6), (69,17.4,70.2,18.6), (9.15,17.55,12.45,18.45), (30.6,17.55,34.05,18.45), (42.6,17.55,46.05,18.45), (52.2,17.55,58.05,18.45), (30.6,18.45,31.8,18.6), (42.6,18.45,43.8,18.6), (52.2,18.45,53.4,18.6), (6.6,20.4,7.8,21.6), (28.2,20.4,29.4,21.6), (37.8,20.4,39,21.6), (61.8,20.4,63,21.6), (71.4,20.4,72.6,21.6), (40.2,20.55,43.65,21.45), (47.4,20.55,55.8,21.45), (1.8,23.4,3,24.6), (30.6,23.4,31.8,24.6), (40.2,23.4,41.4,24.6), (51.6,30.9,58.8,32.1), (71.4,32.4,72.6,33.6), (69,38.4,70.2,38.55), (66.75,38.55,70.2,39.45), (69,39.45,70.2,39.6), (1.8,41.4,3,42.6), (40.2,41.4,41.4,42.6), (45,41.4,46.2,42.6), (52.35,41.55,65.25,42.45), (33,44.4,34.2,45.6), (49.8,44.4,51,45.6), (61.8,44.4,63,45.6), (6.75,44.55,17.25,45.45), (45,47.4,46.2,48.6), (8.4,60.9,15.6,62.1)])
A(c_fa, via1, 8.85, 1.2, 0.6, 0.6, 4, 2, 1.5, 60)
A(c_fa, via1, 40.5, 20.7, 0.6, 0.6, 4, 1, 7.2, 0)
A(c_fa, via1, 52.05, 31.2, 0.6, 0.6, 4, 1, 1.5, 0)
R(c_fa, via1, [(21.3,11.7,21.9,12.3), (26.1,14.7,26.7,15.3), (47.7,14.7,48.3,15.3), (2.1,17.7,2.7,18.3), (23.7,17.7,24.3,18.3), (30.9,17.7,31.5,18.3), (42.9,17.7,43.5,18.3), (52.5,17.7,53.1,18.3), (64.5,17.7,65.1,18.3), (69.3,17.7,69.9,18.3), (6.9,20.7,7.5,21.3), (28.5,20.7,29.1,21.3), (38.1,20.7,38.7,21.3), (71.7,20.7,72.3,21.3), (2.1,23.7,2.7,24.3), (30.9,23.7,31.5,24.3), (40.5,23.7,41.1,24.3), (71.7,32.7,72.3,33.3), (69.3,38.7,69.9,39.3), (2.1,41.7,2.7,42.3), (40.5,41.7,41.1,42.3), (45.3,41.7,45.9,42.3), (33.3,44.7,33.9,45.3), (50.1,44.7,50.7,45.3), (62.1,44.7,62.7,45.3), (45.3,47.7,45.9,48.3)])
A(c_fa, metal2, 30.6, 11.4, 1.2, 1.2, 1, 3, 0, 6)
A(c_fa, metal2, 1.8, 17.4, 1.2, 1.2, 1, 5, 0, 6)
A(c_fa, metal2, 42.6, 17.4, 1.2, 1.2, 3, 1, 4.8, 0)
A(c_fa, metal2, 40.2, 20.4, 1.2, 1.2, 3, 1, 7.2, 0)
R(c_fa, metal2, [(8.4,0.6,15.6,2.4), (21,11.4,22.2,12.6), (52.2,11.4,53.4,12.6), (66.6,11.4,67.8,12.6), (30.75,12.6,31.65,17.4), (52.35,12.6,53.25,17.4), (66.75,12.6,67.65,29.4), (25.8,14.4,27,14.55), (47.4,14.4,48.6,15.6), (71.4,14.4,72.6,15.6), (25.8,14.55,29.25,15.45), (35.55,14.55,43.65,15.45), (54.75,14.55,62.85,15.45), (25.8,15.45,27,15.6), (28.35,15.45,29.25,20.4), (35.55,15.45,36.45,17.4), (42.75,15.45,43.65,17.4), (54.75,15.45,55.65,20.4), (61.95,15.45,62.85,17.55), (47.55,15.6,48.45,17.4), (71.55,15.6,72.45,20.4), (23.4,17.4,24.6,18.6), (35.1,17.4,36.45,18.45), (38.1,17.4,39.3,17.55), (59.4,17.4,60.6,18.6), (64.2,17.4,65.4,17.55), (69,17.4,70.2,18.6), (37.95,17.55,39.3,18.6), (61.95,17.55,65.4,18.45), (35.1,18.45,36.3,18.6), (64.2,18.45,65.4,18.6), (1.95,18.6,2.85,20.55), (37.95,18.6,38.85,20.4), (59.55,18.6,60.45,23.55), (6.6,20.4,7.8,21.6), (28.2,20.4,29.4,21.6), (37.8,20.4,39,21.6), (61.8,20.4,63,20.55), (71.4,20.4,72.6,20.55), (1.95,20.55,5.25,21.45), (61.8,20.55,65.25,21.45), (69.15,20.55,72.6,21.45), (4.35,21.45,5.25,41.4), (61.8,21.45,63,21.6), (64.35,21.45,65.25,35.4), (69.15,21.45,70.05,23.4), (71.4,21.45,72.6,21.6), (6.75,21.6,7.65,29.4), (40.35,21.6,41.25,23.4), (47.55,21.6,48.45,35.55), (40.2,23.4,41.4,24.6), (69,23.4,70.2,24.6), (73.8,23.4,75,24.6), (59.55,23.55,62.85,24.45), (61.95,24.45,62.85,41.4), (1.95,24.6,2.85,29.4), (30.75,24.6,31.65,47.4), (69.15,24.6,70.05,38.4), (73.95,24.6,74.85,41.4), (6.6,29.4,7.8,30.6), (45,29.4,46.2,30.6), (66.6,29.4,67.8,30.6), (71.4,29.4,72.6,30.6), (45.15,30.6,46.05,41.4), (51.6,30.6,58.8,32.4), (71.55,30.6,72.45,32.4), (71.4,32.4,72.6,33.6), (64.2,35.4,65.4,36.6), (47.55,35.55,50.85,36.45), (49.95,36.45,50.85,44.4), (1.95,36.6,2.85,41.4), (69,38.4,70.2,39.6), (4.2,41.4,5.4,42.6), (33,41.4,34.2,42.6), (40.2,41.4,41.4,42.6), (45,41.4,46.2,42.6), (61.8,41.4,63,42.6), (73.8,41.4,75,42.6), (33.15,42.6,34.05,44.4), (40.35,42.6,41.25,66.45), (61.95,42.6,62.85,44.4), (33,44.4,34.2,45.6), (49.8,44.4,51,45.6), (61.8,44.4,63,45.6), (30.6,47.4,31.8,48.6), (45,47.4,46.2,48.6), (45.15,48.6,46.05,65.55), (8.4,60.6,15.6,62.4), (45.15,65.55,48.45,66.45)])
A(c_fa, via2, 8.85, 1.2, 0.6, 0.6, 4, 2, 1.5, 60)
A(c_fa, via2, 52.05, 31.2, 0.6, 0.6, 4, 1, 1.5, 0)
A(c_fa, via2, 4.5, 41.7, 0.6, 0.6, 3, 1, 28.8, 0)
R(c_fa, via2, [(21.3,11.7,21.9,12.3), (30.9,11.7,31.5,12.3), (52.5,11.7,53.1,12.3), (66.9,11.7,67.5,12.3), (71.7,14.7,72.3,15.3), (23.7,17.7,24.3,18.3), (35.4,17.7,36,18.3), (38.4,17.7,39,18.3), (47.7,17.7,48.3,18.3), (59.7,17.7,60.3,18.3), (69.3,17.7,69.9,18.3), (40.5,23.7,41.1,24.3), (69.3,23.7,69.9,24.3), (74.1,23.7,74.7,24.3), (2.1,29.7,2.7,30.3), (6.9,29.7,7.5,30.3), (45.3,29.7,45.9,30.3), (66.9,29.7,67.5,30.3), (71.7,29.7,72.3,30.3), (2.1,35.7,2.7,36.3), (64.5,35.7,65.1,36.3), (74.1,41.7,74.7,42.3), (30.9,47.7,31.5,48.3), (45.3,47.7,45.9,48.3)])
A(c_fa, metal3, 3.9, 41.1, 1.8, 0.15, 3, 2, 28.8, 1.65)
R(c_fa, metal3, [(8.25,0.6,15.6,2.4), (20.7,11.1,22.5,11.25), (30.3,11.1,32.1,11.25), (51.9,11.1,53.7,11.25), (66.3,11.1,68.1,11.25), (20.7,11.25,32.1,12.75), (51.9,11.25,68.1,12.75), (20.7,12.75,22.5,12.9), (30.3,12.75,32.1,12.9), (51.9,12.75,53.7,12.9), (66.3,12.75,68.1,12.9), (71.1,14.1,72.9,14.25), (71.1,14.25,77.55,15.75), (71.1,15.75,72.9,15.9), (76.05,15.75,77.55,18.75), (23.1,17.1,24.9,17.25), (34.8,17.1,36.6,17.25), (37.8,17.1,39.6,17.25), (47.1,17.1,48.9,17.25), (59.1,17.1,60.9,17.25), (68.7,17.1,70.5,17.25), (23.1,17.25,36.75,18.75), (37.65,17.25,70.5,18.75), (23.1,18.75,24.9,18.9), (34.8,18.75,36.6,18.9), (37.8,18.75,39.6,18.9), (47.1,18.75,48.9,18.9), (59.1,18.75,60.9,18.9), (68.7,18.75,70.5,18.9), (39.9,23.1,41.7,23.25), (68.7,23.1,70.5,23.25), (73.5,23.1,77.55,24.9), (-3.15,23.25,-1.65,29.25), (39.9,23.25,70.5,24.75), (39.9,24.75,41.7,24.9), (68.7,24.75,70.5,24.9), (1.5,29.1,3.3,29.25), (6.3,29.1,8.1,29.25), (44.7,29.1,46.5,29.25), (66.3,29.1,68.1,29.25), (71.1,29.1,72.9,29.25), (-3.15,29.25,3.3,30.75), (6.3,29.25,46.5,30.75), (66.3,29.25,72.9,30.75), (76.05,29.25,77.55,35.25), (51.45,30.6,58.8,32.4), (1.5,30.75,3.3,30.9), (6.3,30.75,8.1,30.9), (44.7,30.75,46.5,30.9), (66.3,30.75,68.1,30.9), (71.1,30.75,72.9,30.9), (1.5,35.1,3.3,35.25), (63.9,35.1,65.7,35.25), (-3.15,35.25,3.3,36.75), (63.9,35.25,77.55,36.75), (-3.15,36.75,-1.65,42.75), (1.5,36.75,3.3,36.9), (63.9,36.75,65.7,36.9), (73.5,41.1,75.3,41.25), (3.9,41.25,34.5,42.75), (61.5,41.25,75.3,42.75), (73.5,42.75,75.3,42.9), (30.3,47.1,32.1,47.25), (44.7,47.1,46.5,47.25), (30.3,47.25,46.5,48.75), (30.3,48.75,32.1,48.9), (44.7,48.75,46.5,48.9), (8.25,60.6,15.6,62.4)])
c_fa.add(gdstk.Reference(bufx2, (8.4,31.5), rotation=pi, x_reflection=True))
c_fa.add(gdstk.Reference(fill, (10.8,31.5), rotation=pi, x_reflection=True))
c_fa.add(gdstk.Reference(fill, (13.2,31.5), rotation=pi, x_reflection=True))
c_fa.add(gdstk.Reference(fill, (15.6,31.5), rotation=pi, x_reflection=True))
c_fa.add(gdstk.Reference(dffposx1, (44.4,31.5), rotation=pi, x_reflection=True))
c_fa.add(gdstk.Reference(oai21x1, (54,31.5), rotation=pi, x_reflection=True))
c_fa.add(gdstk.Reference(fill, (56.4,31.5), rotation=pi, x_reflection=True))
c_fa.add(gdstk.Reference(fill, (58.8,31.5), rotation=pi, x_reflection=True))
c_fa.add(gdstk.Reference(fill, (61.2,31.5), rotation=pi, x_reflection=True))
c_fa.add(gdstk.Reference(nor2x1, (68.4,31.5), rotation=pi, x_reflection=True))
c_fa.add(gdstk.Reference(fill, (68.4,31.5)))
c_fa.add(gdstk.Reference(fill, (70.8,31.5)))
c_fa.add(gdstk.Reference(aoi21x1, (10.8,31.5), rotation=pi))
c_fa.add(gdstk.Reference(fill, (13.2,31.5), rotation=pi))
c_fa.add(gdstk.Reference(fill, (15.6,31.5), rotation=pi))
c_fa.add(gdstk.Reference(fill, (18,31.5), rotation=pi))
c_fa.add(gdstk.Reference(nand3x1, (27.6,31.5), rotation=pi))
c_fa.add(gdstk.Reference(invx1, (32.4,31.5), rotation=pi))
c_fa.add(gdstk.Reference(or2x2, (42,31.5), rotation=pi))
c_fa.add(gdstk.Reference(nand2x1, (42,31.5), x_reflection=True))
c_fa.add(gdstk.Reference(fill, (49.2,31.5), x_reflection=True))
c_fa.add(gdstk.Reference(fill, (51.6,31.5), x_reflection=True))
c_fa.add(gdstk.Reference(fill, (54,31.5), x_reflection=True))
c_fa.add(gdstk.Reference(bufx2, (56.4,31.5), x_reflection=True))
c_fa.add(gdstk.Reference(and2x2, (73.2,31.5), rotation=pi))
c_fa.add(gdstk.Label('ck', (40.8,66), layer=51, texttype=0))
c_fa.add(gdstk.Label('rst', (-2.4,24), layer=62, texttype=0))
c_fa.add(gdstk.Label('a', (76.8,24), layer=62, texttype=0))
c_fa.add(gdstk.Label('b', (48,66), layer=51, texttype=0))
c_fa.add(gdstk.Label('ci', (76.8,18), layer=62, texttype=0))
c_fa.add(gdstk.Label('s', (-2.4,42), layer=62, texttype=0))
c_fa.add(gdstk.Label('co', (76.8,30), layer=62, texttype=0))

lib.write_gds('fa.gds')
